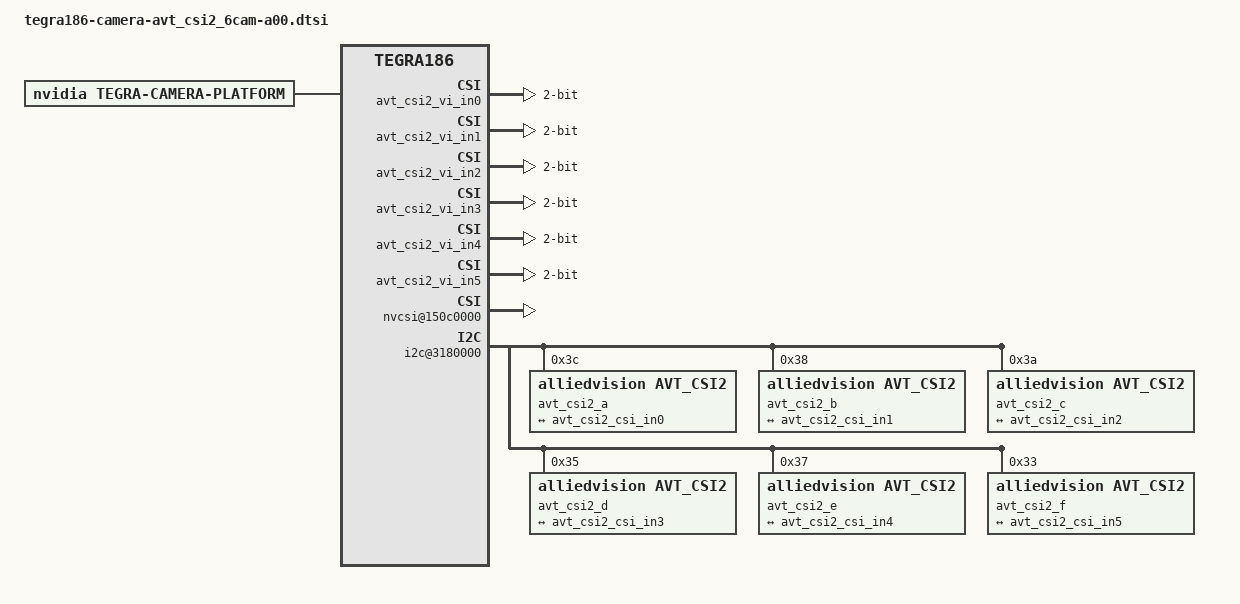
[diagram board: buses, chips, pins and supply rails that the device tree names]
/*
 * Copyright (c) 2015-2016, NVIDIA CORPORATION.  All rights reserved.
 *
 * This program is free software; you can redistribute it and/or modify
 * it under the terms of the GNU General Public License as published by
 * the Free Software Foundation; either version 2 of the License, or
 * (at your option) any later version.
 *
 * This program is distributed in the hope that it will be useful, but WITHOUT
 * ANY WARRANTY; without even the implied warranty of MERCHANTABILITY or
 * FITNESS FOR A PARTICULAR PURPOSE.  See the GNU General Public License for
 * more details.
 *
 * You should have received a copy of the GNU General Public License
 * along with this program.  If not, see <http://www.gnu.org/licenses/>.
 */

/* camera control gpio definitions */
/ {
	host1x {
		vi@15700000 {
			status = "okay";
			num-channels = <6>;
			ports {
				#address-cells = <1>;
				#size-cells = <0>;
				port@0 {
					status ="okay";
					reg = <0>;
					avt_csi2_vi_in0: endpoint {
						status = "okay";
						port-index = <0>;
						bus-width = <2>;
						remote-endpoint = <&avt_csi2_csi_out0>;
					};
				};
				port@1 {
					status ="okay";
					reg = <1>;
					avt_csi2_vi_in1: endpoint {
						status = "okay";
						port-index = <1>;
						bus-width = <2>;
						remote-endpoint = <&avt_csi2_csi_out1>;
					};
				};
				port@2 {
					status ="okay";
					reg = <2>;
					avt_csi2_vi_in2: endpoint {
						status = "okay";
						port-index = <2>;
						bus-width = <2>;
						remote-endpoint = <&avt_csi2_csi_out2>;
					};
				};
				port@3 {
					status ="okay";
					reg = <3>;
					avt_csi2_vi_in3: endpoint {
						status = "okay";
						port-index = <3>;
						bus-width = <2>;
						remote-endpoint = <&avt_csi2_csi_out3>;
					};
				};
				port@4 {
					status ="okay";
					reg = <4>;
					avt_csi2_vi_in4: endpoint {
						status = "okay";
						port-index = <4>;
						bus-width = <2>;
						remote-endpoint = <&avt_csi2_csi_out4>;
					};
				};
				port@5 {
					status ="okay";
					reg = <5>;
					avt_csi2_vi_in5: endpoint {
						status = "okay";
						port-index = <5>;
						bus-width = <2>;
						remote-endpoint = <&avt_csi2_csi_out5>;
					};
				};
			};
		};

		nvcsi@150c0000 {
			status = "okay";
			num-channels = <6>;
			#address-cells = <1>;
			#size-cells = <0>;
			channel@0 {
				status = "okay";
				reg = <0>;
				ports {
					#address-cells = <1>;
					#size-cells = <0>;
					port@0 {
						status = "okay";
						reg = <0>;
						avt_csi2_csi_in0: endpoint@0 {
							status = "okay";
							port-index = <0>;
							bus-width = <2>;
							remote-endpoint = <&avt_csi2_out0>;
						};
					};
					port@1 {
						status = "okay";
						reg = <1>;
						avt_csi2_csi_out0: endpoint@1 {
							status = "okay";
							remote-endpoint = <&avt_csi2_vi_in0>;
						};
					};
				};
			};
			channel@1 {
				status = "okay";
				reg = <1>;
				ports {
					#address-cells = <1>;
					#size-cells = <0>;
					port@0 {
						status = "okay";
						reg = <0>;
						avt_csi2_csi_in1: endpoint@2 {
							status = "okay";
							port-index = <1>;
							bus-width = <2>;
							remote-endpoint = <&avt_csi2_out1>;
						};
					};
					port@1 {
						status = "okay";
						reg = <1>;
						avt_csi2_csi_out1: endpoint@3 {
							status = "okay";
							remote-endpoint = <&avt_csi2_vi_in1>;
						};
					};
				};
			};
			channel@2 {
				status = "okay";
				reg = <2>;
				ports {
					#address-cells = <1>;
					#size-cells = <0>;
					port@0 {
						status = "okay";
						reg = <0>;
						avt_csi2_csi_in2: endpoint@4 {
							status = "okay";
							port-index = <2>;
							bus-width = <2>;
							remote-endpoint = <&avt_csi2_out2>;
						};
					};
					port@1 {
						status = "okay";
						reg = <1>;
						avt_csi2_csi_out2: endpoint@5 {
							status = "okay";
							remote-endpoint = <&avt_csi2_vi_in2>;
						};
					};
				};
			};
			channel@3 {
				status = "okay";
				reg = <3>;
				ports {
					#address-cells = <1>;
					#size-cells = <0>;
					port@0 {
						status = "okay";
						reg = <0>;
						avt_csi2_csi_in3: endpoint@6 {
							status = "okay";
							port-index = <3>;
							bus-width = <2>;
							remote-endpoint = <&avt_csi2_out3>;
						};
					};
					port@1 {
						status = "okay";
						reg = <1>;
						avt_csi2_csi_out3: endpoint@7 {
							status = "okay";
							remote-endpoint = <&avt_csi2_vi_in3>;
						};
					};
				};
			};
			channel@4 {
				status = "okay";
				reg = <4>;
				ports {
					#address-cells = <1>;
					#size-cells = <0>;
					port@0 {
						status = "okay";
						reg = <0>;
						avt_csi2_csi_in4: endpoint@8 {
							status = "okay";
							port-index = <4>;
							bus-width = <2>;
							remote-endpoint = <&avt_csi2_out4>;
						};
					};
					port@1 {
						status = "okay";
						reg = <1>;
						avt_csi2_csi_out4: endpoint@9 {
							status = "okay";
							remote-endpoint = <&avt_csi2_vi_in4>;
						};
					};
				};
			};
			channel@5 {
				status = "okay";
				reg = <5>;
				ports {
					#address-cells = <1>;
					#size-cells = <0>;
					port@0 {
						status = "okay";
						reg = <0>;
						avt_csi2_csi_in5: endpoint@10 {
							status = "okay";
							port-index = <5>;
							bus-width = <2>;
							remote-endpoint = <&avt_csi2_out5>;
						};
					};
					port@1 {
						status = "okay";
						reg = <1>;
						avt_csi2_csi_out5: endpoint@11 {
							status = "okay";
							remote-endpoint = <&avt_csi2_vi_in5>;
						};
					};
				};
			};
		};
	};

	i2c@3180000 {
		status = "okay";
		avt_csi2_a@3c {
			status = "okay";
			devnode = "video0";
			compatible = "alliedvision,avt_csi2";
			reg = <0x3c>;

			ports {
				#address-cells = <1>;
				#size-cells = <0>;

				port@0 {
					reg = <0>;
					avt_csi2_out0: endpoint {
						port-index = <0>;
						bus-width = <2>;
						remote-endpoint = <&avt_csi2_csi_in0>;
					};
				};
			};

			mode0 {
				num_lanes = "2";
				tegra_sinterface = "serial_a";
				discontinuous_clk = "no";
				cil_settletime = "0";
				embedded_metadata_height = "0";

				/* not verified: */
				mclk_khz = "24000";
				phy_mode = "DPHY";
				dpcm_enable = "false";

				active_w = "5488";
				active_h = "4112";
				pixel_t = "bayer_bggr";
				readout_orientation = "0";
				line_length = "5488";
				inherent_gain = "1";
				mclk_multiplier = "31.25";
				pix_clk_hz = "750000000";

				gain_factor = "16";
				framerate_factor = "1000000";
				exposure_factor = "1000000";
				min_gain_val = "16"; /* 1.0 */
				max_gain_val = "256"; /* 16.0 */
				step_gain_val = "1"; /* 0.125 */
				min_hdr_ratio = "1";
				max_hdr_ratio = "64";
				min_framerate = "1500000"; /* 1.5 */
				max_framerate = "30000000"; /* 30 */
				step_framerate = "1";
				min_exp_time = "34"; /* us */
				max_exp_time = "550385"; /* us */
				step_exp_time = "1";
			};
		};

		avt_csi2_b@38 {
			status = "okay";
			devnode = "video1";
			compatible = "alliedvision,avt_csi2";
			reg = <0x38>;

			ports {
				#address-cells = <1>;
				#size-cells = <0>;

				port@0 {
					reg = <0>;
					avt_csi2_out1: endpoint {
						port-index = <1>;
						bus-width = <2>;
						remote-endpoint = <&avt_csi2_csi_in1>;
					};
				};
			};

			mode0 {
				num_lanes = "2";
				tegra_sinterface = "serial_b";
				discontinuous_clk = "no";
				cil_settletime = "0";
				embedded_metadata_height = "0";

				/* not verified: */
				mclk_khz = "24000";
				phy_mode = "DPHY";
				dpcm_enable = "false";

				active_w = "5488";
				active_h = "4112";
				pixel_t = "bayer_bggr";
				readout_orientation = "0";
				line_length = "5488";
				inherent_gain = "1";
				mclk_multiplier = "31.25";
				pix_clk_hz = "750000000";

				gain_factor = "16";
				framerate_factor = "1000000";
				exposure_factor = "1000000";
				min_gain_val = "16"; /* 1.0 */
				max_gain_val = "256"; /* 16.0 */
				step_gain_val = "1"; /* 0.125 */
				min_hdr_ratio = "1";
				max_hdr_ratio = "64";
				min_framerate = "1500000"; /* 1.5 */
				max_framerate = "30000000"; /* 30 */
				step_framerate = "1";
				min_exp_time = "34"; /* us */
				max_exp_time = "550385"; /* us */
				step_exp_time = "1";
			};
		};

		avt_csi2_c@3a {
			status = "okay";
			devnode = "video2";
			compatible = "alliedvision,avt_csi2";
			reg = <0x3a>;

			ports {
				#address-cells = <1>;
				#size-cells = <0>;

				port@0 {
					reg = <0>;
					avt_csi2_out2: endpoint {
						port-index = <2>;
						bus-width = <2>;
						remote-endpoint = <&avt_csi2_csi_in2>;
					};
				};
			};

			mode0 {
				num_lanes = "2";
				tegra_sinterface = "serial_c";
				discontinuous_clk = "no";
				cil_settletime = "0";
				embedded_metadata_height = "0";

				/* not verified: */
				mclk_khz = "24000";
				phy_mode = "DPHY";
				dpcm_enable = "false";

				active_w = "5488";
				active_h = "4112";
				pixel_t = "bayer_bggr";
				readout_orientation = "0";
				line_length = "5488";
				inherent_gain = "1";
				mclk_multiplier = "31.25";
				pix_clk_hz = "750000000";

				gain_factor = "16";
				framerate_factor = "1000000";
				exposure_factor = "1000000";
				min_gain_val = "16"; /* 1.0 */
				max_gain_val = "256"; /* 16.0 */
				step_gain_val = "1"; /* 0.125 */
				min_hdr_ratio = "1";
				max_hdr_ratio = "64";
				min_framerate = "1500000"; /* 1.5 */
				max_framerate = "30000000"; /* 30 */
				step_framerate = "1";
				min_exp_time = "34"; /* us */
				max_exp_time = "550385"; /* us */
				step_exp_time = "1";
			};
		};

		avt_csi2_d@35 {
			status = "okay";
			devnode = "video3";
			compatible = "alliedvision,avt_csi2";
			reg = <0x35>;

			ports {
				#address-cells = <1>;
				#size-cells = <0>;

				port@0 {
					reg = <0>;
					avt_csi2_out3: endpoint {
						port-index = <3>;
						bus-width = <2>;
						remote-endpoint = <&avt_csi2_csi_in3>;
					};
				};
			};

			mode0 {
				num_lanes = "2";
				tegra_sinterface = "serial_d";
				discontinuous_clk = "no";
				cil_settletime = "0";
				embedded_metadata_height = "0";

				/* not verified: */
				mclk_khz = "24000";
				phy_mode = "DPHY";
				dpcm_enable = "false";

				active_w = "5488";
				active_h = "4112";
				pixel_t = "bayer_bggr";
				readout_orientation = "0";
				line_length = "5488";
				inherent_gain = "1";
				mclk_multiplier = "31.25";
				pix_clk_hz = "750000000";

				gain_factor = "16";
				framerate_factor = "1000000";
				exposure_factor = "1000000";
				min_gain_val = "16"; /* 1.0 */
				max_gain_val = "256"; /* 16.0 */
				step_gain_val = "1"; /* 0.125 */
				min_hdr_ratio = "1";
				max_hdr_ratio = "64";
				min_framerate = "1500000"; /* 1.5 */
				max_framerate = "30000000"; /* 30 */
				step_framerate = "1";
				min_exp_time = "34"; /* us */
				max_exp_time = "550385"; /* us */
				step_exp_time = "1";
			};
		};

		avt_csi2_e@37 {
			status = "okay";
			devnode = "video4";
			compatible = "alliedvision,avt_csi2";
			reg = <0x37>;

			ports {
				#address-cells = <1>;
				#size-cells = <0>;

				port@0 {
					reg = <0>;
					avt_csi2_out4: endpoint {
						port-index = <4>;
						bus-width = <2>;
						remote-endpoint = <&avt_csi2_csi_in4>;
					};
				};
			};

			mode0 {
				num_lanes = "2";
				tegra_sinterface = "serial_e";
				discontinuous_clk = "no";
				cil_settletime = "0";
				embedded_metadata_height = "0";

				/* not verified: */
				mclk_khz = "24000";
				phy_mode = "DPHY";
				dpcm_enable = "false";

				active_w = "5488";
				active_h = "4112";
				pixel_t = "bayer_bggr";
				readout_orientation = "0";
				line_length = "5488";
				inherent_gain = "1";
				mclk_multiplier = "31.25";
				pix_clk_hz = "750000000";

				gain_factor = "16";
				framerate_factor = "1000000";
				exposure_factor = "1000000";
				min_gain_val = "16"; /* 1.0 */
				max_gain_val = "256"; /* 16.0 */
				step_gain_val = "1"; /* 0.125 */
				min_hdr_ratio = "1";
				max_hdr_ratio = "64";
				min_framerate = "1500000"; /* 1.5 */
				max_framerate = "30000000"; /* 30 */
				step_framerate = "1";
				min_exp_time = "34"; /* us */
				max_exp_time = "550385"; /* us */
				step_exp_time = "1";
			};
		};

		avt_csi2_f@33 {
			status = "okay";
			devnode = "video5";
			compatible = "alliedvision,avt_csi2";
			reg = <0x33>;

			ports {
				#address-cells = <1>;
				#size-cells = <0>;

				port@0 {
					reg = <0>;
					avt_csi2_out5: endpoint {
						port-index = <5>;
						bus-width = <2>;
						remote-endpoint = <&avt_csi2_csi_in5>;
					};
				};
			};

			mode0 {
				num_lanes = "2";
				tegra_sinterface = "serial_f";
				discontinuous_clk = "no";
				cil_settletime = "0";
				embedded_metadata_height = "0";

				/* not verified: */
				mclk_khz = "24000";
				phy_mode = "DPHY";
				dpcm_enable = "false";

				active_w = "5488";
				active_h = "4112";
				pixel_t = "bayer_bggr";
				readout_orientation = "0";
				line_length = "5488";
				inherent_gain = "1";
				mclk_multiplier = "31.25";
				pix_clk_hz = "750000000";

				gain_factor = "16";
				framerate_factor = "1000000";
				exposure_factor = "1000000";
				min_gain_val = "16"; /* 1.0 */
				max_gain_val = "256"; /* 16.0 */
				step_gain_val = "1"; /* 0.125 */
				min_hdr_ratio = "1";
				max_hdr_ratio = "64";
				min_framerate = "1500000"; /* 1.5 */
				max_framerate = "30000000"; /* 30 */
				step_framerate = "1";
				min_exp_time = "34"; /* us */
				max_exp_time = "550385"; /* us */
				step_exp_time = "1";
			};
		};
	};



	tegra-camera-platform {
		compatible = "nvidia, tegra-camera-platform";

		/**
		* Physical settings to calculate max ISO BW
		*
		* num_csi_lanes = <>;
		* Total number of CSI lanes when all cameras are active
		*
		* max_lane_speed = <>;
		* Max lane speed in Kbit/s
		*
		* min_bits_per_pixel = <>;
		* Min bits per pixel
		*
		* vi_peak_byte_per_pixel = <>;
		* Max byte per pixel for the VI ISO case
		*
		* vi_bw_margin_pct = <>;
		* Vi bandwidth margin in percentage
		*
		* max_pixel_rate = <>;
		* Max pixel rate in Kpixel/s for the ISP ISO case
		*
		* isp_peak_byte_per_pixel = <>;
		* Max byte per pixel for the ISP ISO case
		*
		* isp_bw_margin_pct = <>;
		* Isp bandwidth margin in percentage
		*/
		num_csi_lanes = <12>;
		max_lane_speed = <1500000>;
		min_bits_per_pixel = <10>;
		vi_peak_byte_per_pixel = <2>;
		vi_bw_margin_pct = <25>;
		max_pixel_rate = <160000>;
		isp_peak_byte_per_pixel = <5>;
		isp_bw_margin_pct = <25>;

		/**
		 * The general guideline for naming badge_info contains 3 parts, and is as follows,
		 * The first part is the camera_board_id for the module; if the module is in a FFD
		 * platform, then use the platform name for this part.
		 * The second part contains the position of the module, ex. “rear” or “front”.
		 * The third part contains the last 6 characters of a part number which is found
		 * in the module's specsheet from the vender.
		 */
		modules {
			status = "okay";
			module0 {
				status = "okay";
				badge = "avt_csi2_0";
				position = "front";
				orientation = "1";
				drivernode0 {
					pcl_id = "v4l2_sensor";
					devname = "avt_csi2 0 2-003c";
					proc-device-tree = "/proc/device-tree/i2c@3180000/avt_csi2_a@3c";
				};
				drivernode1 {
					pcl_id = "v4l2_lens";
				};
			};
			module1 {
				status = "okay";
				badge = "avt_csi2_1";
				position = "front";
				orientation = "1";
				drivernode0 {
					pcl_id = "v4l2_sensor";
					devname = "avt_csi2 1 2-003c";
					proc-device-tree = "/proc/device-tree/i2c@3180000/avt_csi2_b@38";
				};
				drivernode1 {
					pcl_id = "v4l2_lens";
				};
			};
			module2 {
				status = "okay";
				badge = "avt_csi2_2";
				position = "front";
				orientation = "1";
				drivernode0 {
					pcl_id = "v4l2_sensor";
					devname = "avt_csi2 2 2-003c";
					proc-device-tree = "/proc/device-tree/i2c@3180000/avt_csi2_c@3a";
				};
				drivernode1 {
					pcl_id = "v4l2_lens";
				};
			};
			module3 {
				status = "okay";
				badge = "avt_csi2_3";
				position = "front";
				orientation = "1";
				drivernode0 {
					pcl_id = "v4l2_sensor";
					devname = "avt_csi2 3 2-003c";
					proc-device-tree = "/proc/device-tree/i2c@3180000/avt_csi2_d@35";
				};
				drivernode1 {
					pcl_id = "v4l2_lens";
				};
			};
			module4 {
				status = "okay";
				badge = "avt_csi2_4";
				position = "front";
				orientation = "1";
				drivernode0 {
					pcl_id = "v4l2_sensor";
					devname = "avt_csi2 4 2-003c";
					proc-device-tree = "/proc/device-tree/i2c@3180000/avt_csi2_e@37";
				};
				drivernode1 {
					pcl_id = "v4l2_lens";
				};
			};
			module5 {
				status = "okay";
				badge = "avt_csi2_5";
				position = "front";
				orientation = "1";
				drivernode0 {
					pcl_id = "v4l2_sensor";
					devname = "avt_csi2 5 2-003c";
					proc-device-tree = "/proc/device-tree/i2c@3180000/avt_csi2_f@33";
				};
				drivernode1 {
					pcl_id = "v4l2_lens";
				};
			};
		};
	};
};
